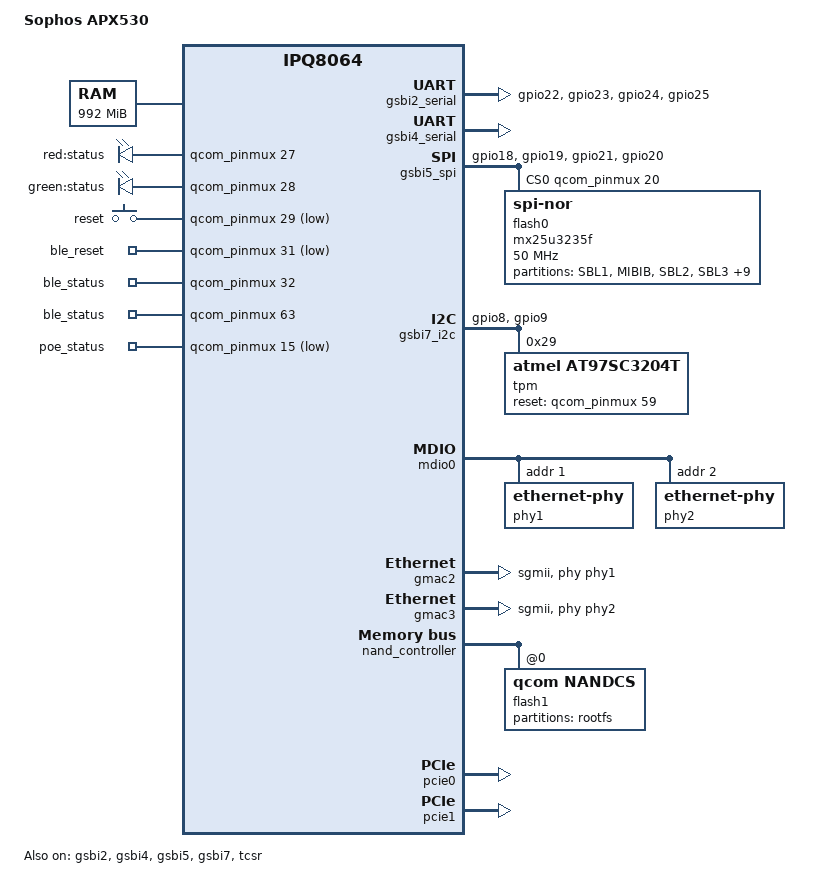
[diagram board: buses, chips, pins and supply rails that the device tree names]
// SPDX-License-Identifier: GPL-2.0-or-later OR MIT
#include "qcom-ipq8064.dtsi"
#include <dt-bindings/input/input.h>
#include <dt-bindings/gpio/gpio.h>

/ {
	model = "Sophos APX530";
	compatible = "sophos,apx530", "qcom,ipq8064";


	aliases {
		led-boot = &led_status_green;
		led-failsafe = &led_status_red;
		led-running = &led_status_green;
		led-upgrade = &led_status_red;

		serial0 = &gsbi4_serial; /* ttyMSM0, console */
		serial1 = &gsbi2_serial; /* ttyMSM1, bluetooth */
		ethernet0 = &gmac2;
		ethernet1 = &gmac3;
	};

	chosen {
		stdout-path = "serial0:115200n8";
		bootargs = "ubi.mtd=rootfs loglevel=8 earlycon=msm_serial_dm,0x16340000 earlyprink console=ttyMSM0,115200";
	};

	memory@42000000 {
		reg = <0x42000000 0x3e000000>;
		device_type = "memory";
	};

	reserved-memory {
		#address-cells = <1>;
		#size-cells = <1>;
		ranges;

		rsvd@41200000 {
			reg = <0x41200000 0x300000>;
			no-map;
		};
	};

	leds {
		compatible = "gpio-leds";

		pinctrl-0 = <&leds_pins>;
		pinctrl-names = "default";

		led_status_red: status_red {
			label = "red:status";
			gpios = <&qcom_pinmux 27 GPIO_ACTIVE_HIGH>;
		};

		led_status_green: status_green {
			label = "green:status";
			gpios = <&qcom_pinmux 28 GPIO_ACTIVE_HIGH>;
		};

	};

	keys {
		compatible = "gpio-keys";

		pinctrl-0 = <&button_pins>;
		pinctrl-names = "default";

		reset {
			label = "reset";
			gpios = <&qcom_pinmux 29 GPIO_ACTIVE_LOW>;
			linux,code = <KEY_RESTART>;
			debounce-interval = <60>;
			wakeup-source;
		};
	};

	gpio-export {
		compatible = "gpio-export";

		pinctrl-0 = <&gpio_pins>;
		pinctrl-names = "default";

		ble_reset: gpio_ble_reset {
			gpio-export,name = "ble_reset";
			gpio-export,output = <1>;
			gpios = <&qcom_pinmux 31 GPIO_ACTIVE_LOW>;
		};

		ble_status: gpio_ble_status {
			gpio-export,name = "ble_status";
			gpio-export,output = <0>;
			gpios = <&qcom_pinmux 32 GPIO_ACTIVE_HIGH>;
		};

		ble_active: gpio_ble_active {
			gpio-export,name = "ble_status";
			gpio-export,output = <0>;
			gpios = <&qcom_pinmux 63 GPIO_ACTIVE_HIGH>;
		};

		poe_status: gpio_poe_status {
			gpio-export,name = "poe_status";
			gpio-export,output = <0>;
			gpios = <&qcom_pinmux 15 GPIO_ACTIVE_LOW>;
		};
	};
};

&qcom_pinmux {
	spi_pins: spi_pins {
		mux {
			pins = "gpio18", "gpio19", "gpio21";
			function = "gsbi5";
			drive-strength = <10>;
			bias-none;
		};

		cs {
			pins = "gpio20";
			drive-strength = <12>;
		};
	};

	hci_uart_pins: hci_uart_pins {
		mux {
			pins = "gpio22", "gpio23", "gpio24", "gpio25";
			function = "gsbi2";
			drive-strength = <12>;
			bias-disable;
		};
	};

	gpio_pins: gpio_pins {
		ble_reset {
			pins = "gpio31";
			function = "gpio";
			drive-strength = <12>;
			bias-pull-down;
			output-low;
		};

		ble_status {
			pins = "gpio32", "gpio63", "gpio68";
			function = "gpio";
			drive-strength = <12>;
			bias-disable;
		};

		poe_status {
			pins = "gpio15";
			function = "gpio";
			drive-strength = <2>;
			bias-pull-down;
		};
	};

	leds_pins: leds_pins {
		mux {
			pins = "gpio27", "gpio28";
			function = "gpio";
			drive-strength = <2>;
			bias-pull-down;
			output-low;
		};
	};

	button_pins: button_pins {
		mux {
			pins = "gpio29";
			function = "gpio";
			drive-strength = <2>;
			bias-pull-up;
		};
	};

	i2c7_pins: i2c7_pins {
		mux {
			pins = "gpio8", "gpio9";
			function = "gsbi7";
			drive-strength = <12>;
			bias-disable;
		};
	};
};

&adm_dma {
	status = "okay";
};

&CPU_SPC {
	status = "disabled";
};

&gsbi2 {
	qcom,mode = <GSBI_PROT_UART_W_FC>;
	status = "okay";
};

&gsbi2_serial {
	status = "okay";
	pinctrl-0 = <&hci_uart_pins>;
	pinctrl-names = "default";

	qcom,rx-crci = <14>;
	qcom,tx-crci = <4>;
	dmas = <&adm_dma 7>,
	       <&adm_dma 8>;
	dma-names = "tx", "rx";
};

&gsbi4 {
	qcom,mode = <GSBI_PROT_I2C_UART>;
	status = "okay";
	/*
	* The i2c device on gsbi4 should not be enabled.
	* On ipq806x designs gsbi4 i2c is meant for exclusive
	* RPM usage. Turning this on in kernel manifests as
	* i2c failure for the RPM.
	*/
};

&gsbi4_serial {
	status = "okay";
	/* Bluetooth HCI UART port, CSR8811 */
};

&gsbi5 {
	status = "okay";
	qcom,mode = <GSBI_PROT_SPI>;

	gsbi5_spi: spi@1a280000 {
		status = "okay";
		spi-max-frequency = <50000000>;

		pinctrl-0 = <&spi_pins>;
		pinctrl-names = "default";

		cs-gpios = <&qcom_pinmux 20 GPIO_ACTIVE_HIGH>;

		flash0: mx25u3235f@0 {
			compatible = "jedec,spi-nor";
			#address-cells = <1>;
			#size-cells = <1>;
			spi-max-frequency = <50000000>;
			reg = <0>;
			m25p,fast-read;

			partitions {
				compatible = "fixed-partitions";
				#address-cells = <1>;
				#size-cells = <1>;

				partition@0 {
					label = "SBL1";
					reg = <0x0 0x10000>;
					read-only;
				};

				partition@10000 {
					label = "MIBIB";
					reg = <0x10000 0x20000>;
					read-only;
				};

				partition@30000 {
					label = "SBL2";
					reg = <0x30000 0x30000>;
					read-only;
				};

				partition@60000 {
					label = "SBL3";
					reg = <0x60000 0x30000>;
					read-only;
				};

				partition@90000 {
					label = "DDRCONFIG";
					reg = <0x90000 0x10000>;
					read-only;
				};

				partition@a0000 {
					label = "APPSBLENV";
					reg = <0xa0000 0x10000>;
				};

				art: partition@b0000 {
					label = "ART";
					reg = <0xb0000 0x10000>;
					read-only;
				};

				partition@c0000 {
					label = "TZ";
					reg = <0xc0000 0x30000>;
					read-only;
				};

				partition@f0000 {
					label = "RPM";
					reg = <0xf0000 0x20000>;
					read-only;
				};

				partition@110000 {
					label = "APPSBL";
					reg = <0x110000 0x90000>;
					read-only;
				};

				partition@1a0000 {
					label = "stat_cfg";
					reg = <0x1a0000 0x60000>;
				};

				partition@200000 {
					label = "dyn_cfg";
					reg = <0x200000 0x100000>;
				};

				partition@300000 {
					label = "dyn_cfg_backup";
					reg = <0x300000 0x100000>;
				};
			};
		};
	};
};

&gsbi7 {
	status = "okay";
	qcom,mode = <GSBI_PROT_I2C>;
};

&gsbi7_i2c {
	status = "okay";
	pinctrl-0 = <&i2c7_pins>;
	pinctrl-names = "default";

	tpm: tpm@29 {
		reg = <0x29>;
		compatible = "atmel,at97sc3204t";
		reset-gpio = <&qcom_pinmux 59 GPIO_ACTIVE_HIGH>;
	};
};

&mdio0 {
	status = "okay";

	pinctrl-0 = <&mdio0_pins>;
	pinctrl-names = "default";

	phy1: ethernet-phy@1 {
		reg = <1>;
	};

	phy2: ethernet-phy@2 {
		reg = <2>;
	};
};

&gmac2 {
	status = "okay";

	qcom,id = <2>;
	mdiobus = <&mdio0>;

	phy-mode = "sgmii";
	phy-handle = <&phy1>;

	// nvmem-cells = <&macaddr_art_0>;
	// nvmem-cell-names = "mac-address";

	local-mac-address = [00 00 00 00 00 00]; /* Set by U-Boot */
};

&gmac3 {
	status = "okay";

	qcom,id = <3>;
	mdiobus = <&mdio0>;

	phy-mode = "sgmii";
	phy-handle = <&phy2>;

	// nvmem-cells = <&macaddr_art_6>;
	// nvmem-cell-names = "mac-address";

	local-mac-address = [00 00 00 00 00 00]; /* Set by U-Boot */
};

&nand_controller {
	status = "okay";

	pinctrl-0 = <&nand_pins>;
	pinctrl-names = "default";

	flash1: nand@0 {
		reg = <0>;
		compatible = "qcom,nandcs";

		nand-bus-width = <8>;

		partitions {
			compatible = "fixed-partitions";
			#address-cells = <1>;
			#size-cells = <1>;

			partition@0 {
				label = "rootfs";
				reg = <0x0 0x20000000>;
			};
		};
	};
};

&pcie0 {
	status = "okay";
};

&pcie1 {
	status = "okay";
};

&hs_phy_0 {
	status = "disabled";
};

&ss_phy_0 {
	status = "disabled";
};

&hs_phy_1 {
	status = "disabled";
};

&ss_phy_1 {
	status = "disabled";
};

&rpm {
	pinctrl-0 = <&i2c4_pins>;
	pinctrl-names = "default";
};

&tcsr {
	status = "okay";
};

&art {
	compatible = "nvmem-cells";
	#address-cells = <1>;
	#size-cells = <1>;

	macaddr_art_0: macaddr@0 {
		reg = <0x0 0x6>;
	};

	macaddr_art_6: macaddr@6 {
		reg = <0x6 0x6>;
	};

	macaddr_art_12: macaddr@12 {
		reg = <0x12 0x6>;
	};
};
